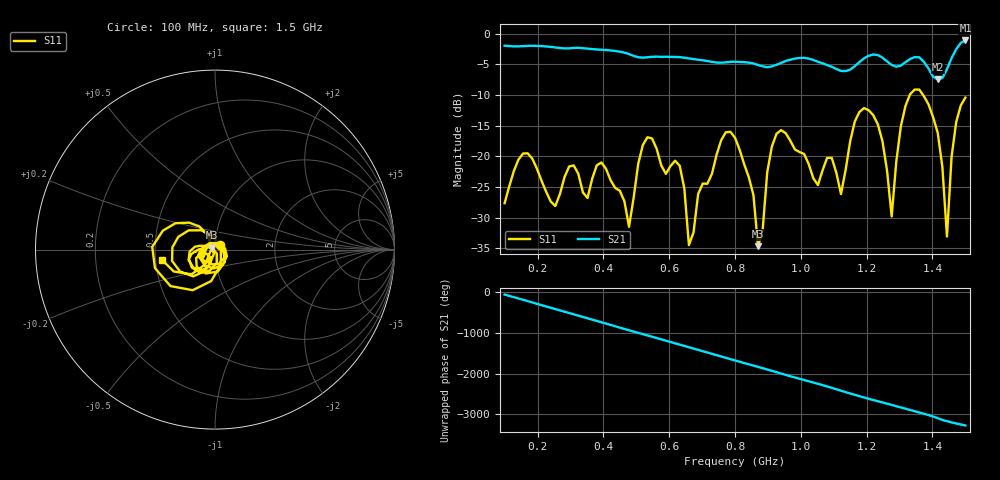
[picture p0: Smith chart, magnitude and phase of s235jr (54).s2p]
! NanoVNA-App
! Date: 2025-09-26 09:45:12
! Start: 100MHz Stop: 1,5GHz Points: 101
! S-Parameter data: F S11 S21 S12 S22
# Hz S RI R 50
!  Frequency  S11_Real  S11_Imag  S21_Real  S21_Imag  S12_Real  S12_Imag  S22_Real  S22_Imag
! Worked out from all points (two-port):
!   101 points, 100 MHz to 1.5 GHz, reference 50 ohm
!   highest |S21| = -1.10 dB at 1.5 GHz (marker M1); lowest = -7.5 dB at 1.416 GHz (marker M2)
!   |S21| within 3 dB of the highest: start of sweep to 668.2 MHz; 1.19 GHz to 1.253 GHz (62.33 MHz wide, 5.1 % of centre) (the widest 2 of 5)
!   lowest |S11| = -34.7 dB at 870 MHz (marker M3), VSWR 1.04, Z = 48.5 + j0.987 ohm
!   |S11| at or under -10 dB: start of sweep to 1.331 GHz; 1.371 GHz to end of sweep
!   S12 and S22 are empty: the file has one direction only
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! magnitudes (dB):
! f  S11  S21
! 100 MHz  -27.6  -2.0
! 156 MHz  -19.5  -2.0
! 338 MHz  -25.9  -2.4
! 394 MHz  -21.0  -2.6
! 478 MHz  -31.5  -3.3
! 520 MHz  -18.2  -3.9
! 576 MHz  -21.5  -3.8
! 632 MHz  -21.6  -3.8
! 660 MHz  -34.5  -4.0
! 800 MHz  -17.0  -4.6
! 870 MHz  -34.7  -5.1
! 926 MHz  -16.3  -5.1
! 1.038 GHz  -23.6  -4.3
! 1.122 GHz  -26.2  -6.1
! 1.206 GHz  -12.5  -3.6
! 1.248 GHz  -17.5  -3.9
! 1.276 GHz  -29.8  -5.1
! 1.332 GHz  -9.9  -4.1
! 1.416 GHz  -16.2  -7.5
! 1.444 GHz  -33.1  -5.8
! 1.458 GHz  -20.1  -4.0
! 1.5 GHz  -10.4  -1.1
